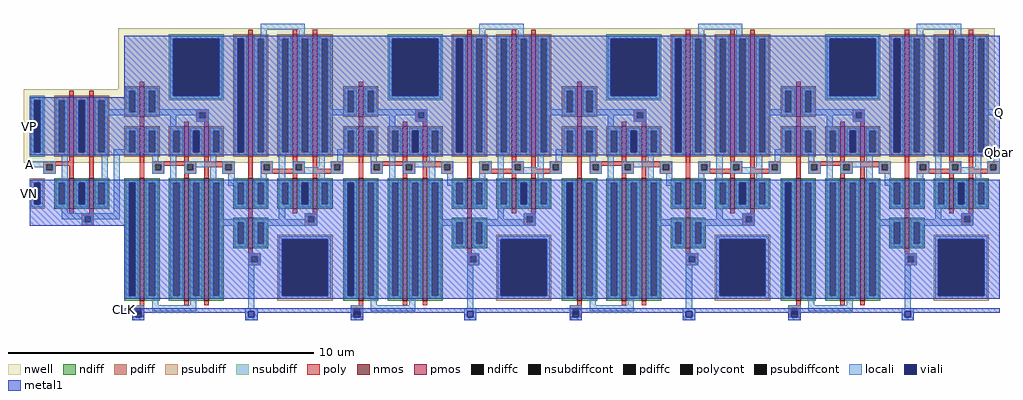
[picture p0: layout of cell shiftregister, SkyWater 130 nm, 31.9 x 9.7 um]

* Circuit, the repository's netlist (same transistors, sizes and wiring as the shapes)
* SPICE3 file created from shiftregister.ext - technology: sky130A

.subckt shiftregister_inverter A D Dbar VP VN
X0 D Dbar VN VN sky130_fd_pr__nfet_01v8 ad=0.5 pd=3 as=0.25 ps=1.5 w=1 l=0.15
X1 D Dbar VP VP sky130_fd_pr__pfet_01v8 ad=1 pd=5 as=0.5 ps=2.5 w=2 l=0.15
X2 VN A Dbar VN sky130_fd_pr__nfet_01v8 ad=0.25 pd=1.5 as=0.5 ps=3 w=1 l=0.15
X3 VP A Dbar VP sky130_fd_pr__pfet_01v8 ad=0.5 pd=2.5 as=1 ps=5 w=2 l=0.15
.ends

.subckt flipflop D Dbar Q Qbar CLK VP VN
X0 Q Qbar a_740_930# VP sky130_fd_pr__pfet_01v8 ad=2 pd=9 as=1 ps=4.5 w=4 l=0.15
X1 VP a_30_930# a_30_1190# VP sky130_fd_pr__pfet_01v8 ad=0.25 pd=1.5 as=0.5 ps=3 w=1 l=0.15
X2 a_740_930# Q Qbar VP sky130_fd_pr__pfet_01v8 ad=1 pd=4.5 as=2 ps=9 w=4 l=0.15
X3 Q CLK a_30_1190# VN sky130_fd_pr__nfet_01v8 ad=0.5 pd=3 as=0.5 ps=3 w=1 l=0.15
X4 a_30_930# a_30_1190# VP VP sky130_fd_pr__pfet_01v8 ad=0.5 pd=3 as=0.25 ps=1.5 w=1 l=0.15
X5 a_30_n10# CLK VN VN sky130_fd_pr__nfet_01v8 ad=2 pd=9 as=2 ps=9 w=4 l=0.15
X6 a_30_1190# CLK D VP sky130_fd_pr__pfet_01v8 ad=0.5 pd=3 as=0.5 ps=3 w=1 l=0.15
X7 Q Qbar VN VN sky130_fd_pr__nfet_01v8 ad=0.5 pd=3 as=0.25 ps=1.5 w=1 l=0.15
X8 a_30_930# CLK Dbar VP sky130_fd_pr__pfet_01v8 ad=0.5 pd=3 as=0.5 ps=3 w=1 l=0.15
X9 a_740_930# CLK VP VP sky130_fd_pr__pfet_01v8 ad=2 pd=9 as=2 ps=9 w=4 l=0.15
X10 a_30_n10# a_30_930# a_30_1190# VN sky130_fd_pr__nfet_01v8 ad=1 pd=4.5 as=2 ps=9 w=4 l=0.15
X11 VN Q Qbar VN sky130_fd_pr__nfet_01v8 ad=0.25 pd=1.5 as=0.5 ps=3 w=1 l=0.15
X12 Qbar CLK a_30_930# VN sky130_fd_pr__nfet_01v8 ad=0.5 pd=3 as=0.5 ps=3 w=1 l=0.15
X13 a_30_930# a_30_1190# a_30_n10# VN sky130_fd_pr__nfet_01v8 ad=2 pd=9 as=1 ps=4.5 w=4 l=0.15
.ends

*.subckt shiftregister Q Qbar CLK
Xshiftregister_inverter_0 shiftregister_inverter_0/A flipflop_0/D flipflop_0/Dbar
+ flipflop_3/VP VSUBS shiftregister_inverter
Xflipflop_0 flipflop_0/D flipflop_0/Dbar flipflop_1/D flipflop_1/Dbar CLK flipflop_3/VP
+ VSUBS flipflop
Xflipflop_1 flipflop_1/D flipflop_1/Dbar flipflop_2/D flipflop_2/Dbar CLK flipflop_3/VP
+ VSUBS flipflop
Xflipflop_2 flipflop_2/D flipflop_2/Dbar flipflop_3/D flipflop_3/Dbar CLK flipflop_3/VP
+ VSUBS flipflop
Xflipflop_3 flipflop_3/D flipflop_3/Dbar Q Qbar CLK flipflop_3/VP VSUBS flipflop
**.ends

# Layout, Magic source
magic
tech sky130A
<< locali >>
rect 2210 660 2230 680
rect 2210 530 2230 550
rect -940 490 -920 510
<< metal1 >>
rect -940 530 -925 720
rect -940 300 -925 450
rect -630 15 -615 30
use flipflop  flipflop_0 ../flipflop
transform 1 0 -580 0 1 60
box -70 -70 665 900
use flipflop  flipflop_1
transform 1 0 135 0 1 60
box -70 -70 665 900
use flipflop  flipflop_2
transform 1 0 850 0 1 60
box -70 -70 665 900
use flipflop  flipflop_3
transform 1 0 1565 0 1 60
box -70 -70 665 900
use shiftregister_inverter  shiftregister_inverter_0
transform 1 0 -650 0 1 -10
box -310 310 20 755
<< labels >>
rlabel locali 2230 670 2230 670 3 Q
port 2 e
rlabel locali 2230 540 2230 540 3 Qbar
port 3 e
rlabel metal1 -630 25 -630 25 7 CLK
port 6 w
rlabel locali -940 500 -940 500 7 A
port 1 w
rlabel metal1 -940 625 -940 625 7 VP
port 4 w
rlabel metal1 -940 405 -940 405 7 VN
port 5 w
<< end >>

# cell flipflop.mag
magic
tech sky130A
<< nwell >>
rect -70 445 650 885
<< nmos >>
rect 0 -5 15 395
rect 145 -5 160 395
rect 210 -5 225 395
rect 355 295 370 395
rect 500 295 515 395
rect 565 295 580 395
rect 355 165 370 265
<< pmos >>
rect 0 595 15 695
rect 0 465 15 565
rect 145 465 160 565
rect 210 465 225 565
rect 355 465 370 865
rect 500 465 515 865
rect 565 465 580 865
<< ndiff >>
rect -50 380 0 395
rect -50 10 -35 380
rect -15 10 0 380
rect -50 -5 0 10
rect 15 380 65 395
rect 15 10 30 380
rect 50 10 65 380
rect 15 -5 65 10
rect 95 380 145 395
rect 95 10 110 380
rect 130 10 145 380
rect 95 -5 145 10
rect 160 380 210 395
rect 160 10 175 380
rect 195 10 210 380
rect 160 -5 210 10
rect 225 380 275 395
rect 225 10 240 380
rect 260 10 275 380
rect 305 380 355 395
rect 305 310 320 380
rect 340 310 355 380
rect 305 295 355 310
rect 370 380 420 395
rect 370 310 385 380
rect 405 310 420 380
rect 370 295 420 310
rect 450 380 500 395
rect 450 310 465 380
rect 485 310 500 380
rect 450 295 500 310
rect 515 380 565 395
rect 515 310 530 380
rect 550 310 565 380
rect 515 295 565 310
rect 580 380 630 395
rect 580 310 595 380
rect 615 310 630 380
rect 580 295 630 310
rect 305 250 355 265
rect 305 180 320 250
rect 340 180 355 250
rect 305 165 355 180
rect 370 250 420 265
rect 370 180 385 250
rect 405 180 420 250
rect 370 165 420 180
rect 225 -5 275 10
<< pdiff >>
rect -50 680 0 695
rect -50 610 -35 680
rect -15 610 0 680
rect -50 595 0 610
rect 15 680 65 695
rect 15 610 30 680
rect 50 610 65 680
rect 305 850 355 865
rect 15 595 65 610
rect -50 550 0 565
rect -50 480 -35 550
rect -15 480 0 550
rect -50 465 0 480
rect 15 550 65 565
rect 15 480 30 550
rect 50 480 65 550
rect 15 465 65 480
rect 95 550 145 565
rect 95 480 110 550
rect 130 480 145 550
rect 95 465 145 480
rect 160 550 210 565
rect 160 480 175 550
rect 195 480 210 550
rect 160 465 210 480
rect 225 550 275 565
rect 225 480 240 550
rect 260 480 275 550
rect 225 465 275 480
rect 305 480 320 850
rect 340 480 355 850
rect 305 465 355 480
rect 370 850 420 865
rect 370 480 385 850
rect 405 480 420 850
rect 370 465 420 480
rect 450 850 500 865
rect 450 480 465 850
rect 485 480 500 850
rect 450 465 500 480
rect 515 850 565 865
rect 515 480 530 850
rect 550 480 565 850
rect 515 465 565 480
rect 580 850 630 865
rect 580 480 595 850
rect 615 480 630 850
rect 580 465 630 480
<< ndiffc >>
rect -35 10 -15 380
rect 30 10 50 380
rect 110 10 130 380
rect 175 10 195 380
rect 240 10 260 380
rect 320 310 340 380
rect 385 310 405 380
rect 465 310 485 380
rect 530 310 550 380
rect 595 310 615 380
rect 320 180 340 250
rect 385 180 405 250
<< pdiffc >>
rect -35 610 -15 680
rect 30 610 50 680
rect -35 480 -15 550
rect 30 480 50 550
rect 110 480 130 550
rect 175 480 195 550
rect 240 480 260 550
rect 320 480 340 850
rect 385 480 405 850
rect 465 480 485 850
rect 530 480 550 850
rect 595 480 615 850
<< psubdiff >>
rect 450 195 630 210
rect 450 10 465 195
rect 615 10 630 195
rect 450 -5 630 10
<< nsubdiff >>
rect 95 850 275 865
rect 95 665 110 850
rect 260 665 275 850
rect 95 650 275 665
<< psubdiffcont >>
rect 465 10 615 195
<< nsubdiffcont >>
rect 110 665 260 850
<< poly >>
rect 355 865 370 880
rect 500 865 515 880
rect 565 865 580 880
rect 0 695 15 710
rect 185 610 225 620
rect 0 565 15 595
rect 185 590 195 610
rect 215 590 225 610
rect 185 580 225 590
rect 145 565 160 580
rect 210 565 225 580
rect 0 395 15 465
rect 145 450 160 465
rect 210 450 225 465
rect 40 440 185 450
rect 40 420 50 440
rect 70 435 155 440
rect 70 420 80 435
rect 40 410 80 420
rect 145 420 155 435
rect 175 420 185 440
rect 145 410 185 420
rect 210 440 310 450
rect 210 430 280 440
rect 145 395 160 410
rect 210 395 225 430
rect 270 420 280 430
rect 300 420 310 440
rect 270 410 310 420
rect 355 395 370 465
rect 500 450 515 465
rect 395 440 435 450
rect 395 420 405 440
rect 425 425 435 440
rect 500 440 540 450
rect 500 425 510 440
rect 425 420 510 425
rect 530 420 540 440
rect 395 410 540 420
rect 565 425 580 465
rect 625 440 665 450
rect 625 425 635 440
rect 565 420 635 425
rect 655 420 665 440
rect 565 410 665 420
rect 500 395 515 410
rect 565 395 580 410
rect 355 265 370 295
rect 500 280 515 295
rect 565 280 580 295
rect 540 270 580 280
rect 540 250 550 270
rect 570 250 580 270
rect 540 240 580 250
rect 355 150 370 165
rect 355 140 395 150
rect 355 120 365 140
rect 385 120 395 140
rect 355 110 395 120
rect 0 -20 15 -5
rect 145 -20 160 -5
rect 210 -20 225 -5
rect -25 -30 15 -20
rect -25 -50 -15 -30
rect 5 -50 15 -30
rect -25 -60 15 -50
<< polycont >>
rect 195 590 215 610
rect 50 420 70 440
rect 155 420 175 440
rect 280 420 300 440
rect 405 420 425 440
rect 510 420 530 440
rect 635 420 655 440
rect 550 250 570 270
rect 365 120 385 140
rect -15 -50 5 -30
<< locali >>
rect 395 880 540 900
rect 395 860 415 880
rect 520 860 540 880
rect 100 850 270 860
rect -45 680 -5 690
rect -45 620 -35 680
rect -50 610 -35 620
rect -15 610 -5 680
rect -50 600 -5 610
rect 20 680 60 690
rect 20 610 30 680
rect 50 620 60 680
rect 100 665 110 850
rect 260 665 270 850
rect 100 655 270 665
rect 310 850 350 860
rect 50 610 225 620
rect 20 600 195 610
rect 100 560 120 600
rect 185 590 195 600
rect 215 590 225 610
rect 185 580 225 590
rect -45 550 -5 560
rect -45 490 -35 550
rect -50 480 -35 490
rect -15 480 -5 550
rect -50 470 -5 480
rect 20 550 60 560
rect 20 480 30 550
rect 50 480 60 550
rect 20 470 60 480
rect 40 450 60 470
rect 100 550 140 560
rect 100 480 110 550
rect 130 480 140 550
rect 100 470 140 480
rect 165 550 205 560
rect 165 480 175 550
rect 195 480 205 550
rect 165 470 205 480
rect 230 550 270 560
rect 230 480 240 550
rect 260 480 270 550
rect 230 470 270 480
rect 310 480 320 850
rect 340 480 350 850
rect 310 470 350 480
rect 375 850 415 860
rect 375 480 385 850
rect 405 480 415 850
rect 375 470 415 480
rect 455 850 495 860
rect 455 480 465 850
rect 485 480 495 850
rect 455 470 495 480
rect 520 850 560 860
rect 520 480 530 850
rect 550 480 560 850
rect 520 470 560 480
rect 585 850 625 860
rect 585 480 595 850
rect 615 620 625 850
rect 615 600 665 620
rect 615 480 625 600
rect 585 470 625 480
rect 40 440 80 450
rect 40 420 50 440
rect 70 420 80 440
rect 40 410 80 420
rect 100 390 120 470
rect 230 450 250 470
rect 145 440 250 450
rect 145 420 155 440
rect 175 430 250 440
rect 175 420 185 430
rect 145 410 185 420
rect 230 390 250 430
rect 270 440 310 450
rect 270 420 280 440
rect 300 420 310 440
rect 270 410 310 420
rect 290 390 310 410
rect 395 440 435 450
rect 395 420 405 440
rect 425 420 435 440
rect 395 410 435 420
rect 395 390 415 410
rect -45 380 -5 390
rect -45 10 -35 380
rect -15 10 -5 380
rect -45 0 -5 10
rect 20 380 60 390
rect 20 10 30 380
rect 50 10 60 380
rect 20 0 60 10
rect 100 380 140 390
rect 100 10 110 380
rect 130 10 140 380
rect 100 0 140 10
rect 165 380 205 390
rect 165 10 175 380
rect 195 10 205 380
rect 165 0 205 10
rect 230 380 270 390
rect 230 10 240 380
rect 260 260 270 380
rect 290 380 350 390
rect 290 370 320 380
rect 310 310 320 370
rect 340 310 350 380
rect 310 300 350 310
rect 375 380 415 390
rect 375 310 385 380
rect 405 310 415 380
rect 375 300 415 310
rect 455 390 475 470
rect 500 440 540 450
rect 500 420 510 440
rect 530 430 540 440
rect 585 430 605 470
rect 645 450 665 490
rect 530 420 605 430
rect 500 410 605 420
rect 625 440 665 450
rect 625 420 635 440
rect 655 420 665 440
rect 625 410 665 420
rect 585 390 605 410
rect 455 380 495 390
rect 455 310 465 380
rect 485 310 495 380
rect 455 300 495 310
rect 520 380 560 390
rect 520 310 530 380
rect 550 310 560 380
rect 520 300 560 310
rect 585 380 625 390
rect 585 310 595 380
rect 615 310 625 380
rect 585 300 625 310
rect 455 260 475 300
rect 540 270 580 280
rect 540 260 550 270
rect 260 250 350 260
rect 260 240 320 250
rect 260 10 270 240
rect 310 180 320 240
rect 340 180 350 250
rect 310 170 350 180
rect 375 250 550 260
rect 570 250 580 270
rect 375 180 385 250
rect 405 240 580 250
rect 405 180 415 240
rect 375 170 415 180
rect 455 195 625 205
rect 230 0 270 10
rect 355 140 395 150
rect 355 120 365 140
rect 385 120 395 140
rect 355 110 395 120
rect 40 -20 60 0
rect 165 -20 185 0
rect -25 -30 15 -20
rect -25 -60 -15 -30
rect 5 -60 15 -30
rect 40 -40 185 -20
rect 355 -30 375 110
rect 455 10 465 195
rect 615 10 625 195
rect 455 0 625 10
rect 345 -40 385 -30
rect -25 -70 15 -60
rect 345 -60 355 -40
rect 375 -60 385 -40
rect 345 -70 385 -60
<< viali >>
rect 110 665 260 850
rect 175 480 195 550
rect 320 480 340 850
rect -35 10 -15 380
rect 530 310 550 380
rect -15 -50 5 -40
rect -15 -60 5 -50
rect 465 10 615 195
rect 355 -60 375 -40
<< metal1 >>
rect -50 850 665 860
rect -50 665 110 850
rect 260 665 320 850
rect -50 550 320 665
rect -50 480 175 550
rect 195 480 320 550
rect 340 480 665 850
rect -50 470 665 480
rect -50 380 665 390
rect -50 10 -35 380
rect -15 310 530 380
rect 550 310 665 380
rect -15 195 665 310
rect -15 10 465 195
rect 615 10 665 195
rect -50 0 665 10
rect -50 -40 665 -30
rect -50 -45 -15 -40
rect -25 -60 -15 -45
rect 5 -45 355 -40
rect 5 -60 15 -45
rect -25 -70 15 -60
rect 345 -60 355 -45
rect 375 -45 665 -40
rect 375 -60 385 -45
rect 345 -70 385 -60
<< labels >>
rlabel locali -50 610 -50 610 7 D
port 1 w
rlabel locali -50 480 -50 480 7 Dbar
port 2 w
rlabel locali 665 610 665 610 3 Q
port 3 e
rlabel locali 665 480 665 480 3 Qbar
port 4 e
rlabel metal1 -50 -35 -50 -35 7 CLK
port 5 w
rlabel metal1 -50 665 -50 665 7 VP
port 6 w
rlabel metal1 -50 195 -50 195 7 VN
port 7 w
<< end >>

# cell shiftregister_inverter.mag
magic
tech sky130A
<< nwell >>
rect -310 515 20 755
<< nmos >>
rect -160 365 -145 465
rect -95 365 -80 465
<< pmos >>
rect -160 535 -145 735
rect -95 535 -80 735
<< ndiff >>
rect -210 450 -160 465
rect -210 380 -195 450
rect -175 380 -160 450
rect -210 365 -160 380
rect -145 450 -95 465
rect -145 380 -130 450
rect -110 380 -95 450
rect -145 365 -95 380
rect -80 450 -30 465
rect -80 380 -65 450
rect -45 380 -30 450
rect -80 365 -30 380
<< pdiff >>
rect -210 720 -160 735
rect -210 550 -195 720
rect -175 550 -160 720
rect -210 535 -160 550
rect -145 720 -95 735
rect -145 550 -130 720
rect -110 550 -95 720
rect -145 535 -95 550
rect -80 720 -30 735
rect -80 550 -65 720
rect -45 550 -30 720
rect -80 535 -30 550
<< ndiffc >>
rect -195 380 -175 450
rect -130 380 -110 450
rect -65 380 -45 450
<< pdiffc >>
rect -195 550 -175 720
rect -130 550 -110 720
rect -65 550 -45 720
<< psubdiff >>
rect -290 450 -240 465
rect -290 380 -275 450
rect -255 380 -240 450
rect -290 365 -240 380
<< nsubdiff >>
rect -290 720 -240 735
rect -290 550 -275 720
rect -255 550 -240 720
rect -290 535 -240 550
<< psubdiffcont >>
rect -275 380 -255 450
<< nsubdiffcont >>
rect -275 550 -255 720
<< poly >>
rect -160 735 -145 750
rect -95 735 -80 750
rect -160 520 -145 535
rect -245 510 -145 520
rect -245 490 -235 510
rect -215 505 -145 510
rect -215 490 -205 505
rect -245 480 -205 490
rect -160 465 -145 505
rect -95 465 -80 535
rect -160 350 -145 365
rect -95 350 -80 365
rect -120 340 -80 350
rect -120 320 -110 340
rect -90 320 -80 340
rect -120 310 -80 320
<< polycont >>
rect -235 490 -215 510
rect -110 320 -90 340
<< locali >>
rect -285 720 -245 730
rect -285 550 -275 720
rect -255 550 -245 720
rect -285 540 -245 550
rect -205 720 -165 730
rect -205 550 -195 720
rect -175 550 -165 720
rect -205 540 -165 550
rect -140 720 -100 730
rect -140 550 -130 720
rect -110 550 -100 720
rect -140 540 -100 550
rect -75 720 -35 730
rect -75 550 -65 720
rect -45 690 -35 720
rect -45 670 20 690
rect -45 550 -35 670
rect -75 540 -35 550
rect -290 510 -205 520
rect -290 500 -235 510
rect -245 490 -235 500
rect -215 490 -205 510
rect -245 480 -205 490
rect -185 460 -165 540
rect -55 460 -35 540
rect -285 450 -245 460
rect -285 380 -275 450
rect -255 380 -245 450
rect -285 370 -245 380
rect -205 450 -165 460
rect -205 380 -195 450
rect -175 380 -165 450
rect -205 370 -165 380
rect -140 450 -100 460
rect -140 380 -130 450
rect -110 380 -100 450
rect -140 370 -100 380
rect -75 450 -35 460
rect -75 380 -65 450
rect -45 380 -35 450
rect -75 370 -35 380
rect -15 540 20 560
rect -185 350 -165 370
rect -15 350 5 540
rect -185 340 5 350
rect -185 330 -110 340
rect -120 320 -110 330
rect -90 330 5 340
rect -90 320 -80 330
rect -120 310 -80 320
<< viali >>
rect -275 550 -255 720
rect -130 550 -110 720
rect -275 380 -255 450
rect -130 380 -110 450
<< metal1 >>
rect -290 720 20 730
rect -290 550 -275 720
rect -255 550 -130 720
rect -110 550 20 720
rect -290 540 20 550
rect -290 450 20 460
rect -290 380 -275 450
rect -255 380 -130 450
rect -110 380 20 450
rect -290 310 20 380
<< labels >>
rlabel locali 20 680 20 680 3 D
port 2 e
rlabel locali 20 550 20 550 3 Dbar
port 3 e
rlabel metal1 -285 635 -285 635 7 VP
port 4 w
rlabel metal1 -290 415 -290 415 7 VN
port 5 w
rlabel locali -290 510 -290 510 7 A
port 1 w
<< end >>
